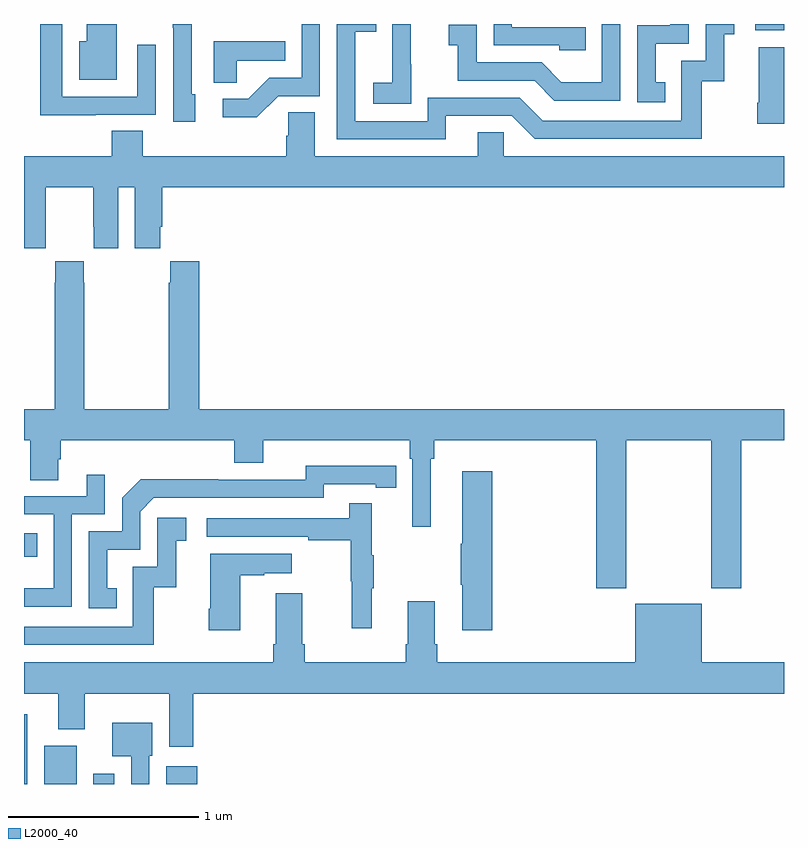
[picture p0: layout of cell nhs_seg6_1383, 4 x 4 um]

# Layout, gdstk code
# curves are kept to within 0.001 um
import gdstk
lib = gdstk.Library(unit=1e-6, precision=1e-09)
def R(c, l, rs):  # rectangles x0, y0, x1, y1
    for r in rs: c.add(gdstk.rectangle(r[:2], r[2:], *l))
def P(c, l, *ps):  # polygons
    for p in ps: c.add(gdstk.Polygon(p, *l))
L2000_40 = (2000, 40)

nhs_seg6_1383 = lib.new_cell('nhs_seg6_1383')
R(nhs_seg6_1383, L2000_40, [(195,973.5,195.018,973.867), (195.107,973.5,195.277,973.702), (195.365,973.5,195.475,973.555), (195.749,973.5,195.911,973.594), (195,974.697,195.071,974.82), (198.849,977.466,199,977.5)])
P(nhs_seg6_1383, L2000_40, [(195.377,977.022),(195.693,977.022),(195.693,977.392),(195.597,977.392),(195.597,977.118),(195.201,977.118),(195.201,977.5),(195.085,977.5),(195.085,977.021),(195.377,977.021)],
  [(195.487,977.5),(195.329,977.5),(195.329,977.41),(195.29,977.41),(195.29,977.207),(195.487,977.207)],
  [(197.221,977.016),(197.568,977.016),(197.688,976.896),(198.568,976.896),(198.568,977.199),(198.686,977.199),(198.686,977.445),(198.739,977.445),(198.739,977.5),(198.588,977.5),(198.588,977.307),(198.459,977.307),(198.459,976.992),(197.73,976.992),(197.61,977.112),(197.124,977.112),(197.124,976.989),(196.743,976.989),(196.743,977.458),(196.853,977.458),(196.853,977.5),(196.647,977.5),(196.647,976.893),(197.221,976.893)],
  [(195.901,977.13),(195.882,977.13),(195.882,977.5),(195.784,977.5),(195.784,977.479),(195.786,977.479),(195.786,976.986),(195.901,976.986)],
  [(198.374,977.193),(198.325,977.193),(198.325,977.397),(198.498,977.397),(198.498,977.5),(198.402,977.5),(198.402,977.493),(198.228,977.493),(198.228,977.088),(198.374,977.088)],
  [(198.138,977.5),(198.042,977.5),(198.042,977.194),(197.828,977.194),(197.724,977.298),(197.382,977.298),(197.382,977.497),(197.235,977.497),(197.235,977.387),(197.284,977.387),(197.284,977.202),(197.687,977.202),(197.792,977.097),(198.138,977.097)],
  [(196.338,977.121),(196.557,977.121),(196.557,977.5),(196.461,977.5),(196.461,977.217),(196.292,977.217),(196.181,977.106),(196.047,977.106),(196.047,977.009),(196.225,977.009)],
  [(197.957,977.484),(197.568,977.484),(197.568,977.5),(197.472,977.5),(197.472,977.388),(197.817,977.388),(197.817,977.361),(197.957,977.361)],
  [(197.037,977.287),(197.036,977.287),(197.036,977.5),(196.938,977.5),(196.938,977.42),(196.937,977.42),(196.937,977.191),(196.839,977.191),(196.839,977.081),(197.037,977.081)],
  [(196.119,977.306),(196.376,977.306),(196.376,977.41),(195.998,977.41),(195.998,977.191),(196.119,977.191)],
  [(199,977.377),(198.866,977.377),(198.866,977.086),(198.859,977.086),(198.859,976.974),(199,976.974)],
  [(195.114,976.432),(195.115,976.432),(195.115,976.64),(195.365,976.64),(195.365,976.432),(195.366,976.432),(195.366,976.32),(195.496,976.32),(195.496,976.64),(195.584,976.64),(195.584,976.32),(195.718,976.32),(195.718,976.432),(195.728,976.432),(195.728,976.64),(199,976.64),(199,976.804),(197.526,976.804),(197.526,976.931),(197.387,976.931),(197.387,976.804),(196.531,976.804),(196.531,977.036),(196.392,977.036),(196.392,976.913),(196.379,976.913),(196.379,976.804),(195.626,976.804),(195.626,976.937),(195.461,976.937),(195.461,976.804),(195,976.804),(195,976.32),(195.114,976.32)],
  [(198.171,975.308),(198.616,975.308),(198.616,974.529),(198.776,974.529),(198.776,975.308),(199,975.308),(199,975.472),(195.923,975.472),(195.923,976.252),(195.769,976.252),(195.769,976.139),(195.763,976.139),(195.763,975.472),(195.318,975.472),(195.318,976.139),(195.315,976.139),(195.315,976.252),(195.165,976.252),(195.165,976.139),(195.163,976.139),(195.163,975.472),(195,975.472),(195,975.308),(195.034,975.308),(195.034,975.1),(195.181,975.1),(195.181,975.21),(195.194,975.21),(195.194,975.308),(196.106,975.308),(196.106,975.191),(196.258,975.191),(196.258,975.308),(197.03,975.308),(197.03,975.212),(197.043,975.212),(197.043,974.853),(197.14,974.853),(197.14,975.212),(197.159,975.212),(197.159,975.308),(198.011,975.308),(198.011,974.529),(198.171,974.529)],
  [(195.488,974.529),(195.439,974.529),(195.439,974.733),(195.612,974.733),(195.612,974.934),(195.684,975.006),(196.578,975.006),(196.578,975.078),(196.85,975.078),(196.85,975.058),(196.958,975.058),(196.958,975.174),(196.482,975.175),(196.482,975.102),(196.022,975.102),(196.022,975.104),(195.614,975.104),(195.516,975.006),(195.516,974.829),(195.342,974.829),(195.342,974.424),(195.488,974.424)],
  [(197.465,975.145),(197.306,975.145),(197.306,974.765),(197.299,974.765),(197.299,974.548),(197.306,974.548),(197.306,974.31),(197.465,974.31)],
  [(195.252,974.919),(195.426,974.919),(195.426,975.127),(195.329,975.127),(195.329,975.015),(195,975.015),(195,974.919),(195.156,974.919),(195.156,974.53),(195,974.53),(195,974.433),(195.252,974.433)],
  [(196.829,974.531),(196.84,974.531),(196.84,974.705),(196.829,974.705),(196.829,974.977),(196.711,974.977),(196.711,974.898),(195.963,974.898),(195.963,974.802),(196.495,974.802),(196.495,974.782),(196.719,974.782),(196.719,974.568),(196.726,974.568),(196.726,974.319),(196.829,974.319)],
  [(195.682,974.535),(195.8,974.535),(195.8,974.781),(195.853,974.781),(195.853,974.902),(195.702,974.902),(195.702,974.643),(195.573,974.643),(195.573,974.328),(195,974.328),(195,974.232),(195.682,974.232)],
  [(196.138,974.599),(196.265,974.599),(196.265,974.609),(196.408,974.609),(196.408,974.713),(195.98,974.713),(195.98,974.422),(195.973,974.422),(195.973,974.31),(196.138,974.31)],
  [(195.89,973.976),(199,973.976),(199,974.14),(198.568,974.14),(198.568,974.449),(198.218,974.449),(198.218,974.14),(197.174,974.14),(197.174,974.236),(197.161,974.236),(197.161,974.461),(197.021,974.461),(197.021,974.236),(197.009,974.236),(197.009,974.14),(196.478,974.14),(196.478,974.236),(196.465,974.236),(196.465,974.503),(196.325,974.503),(196.325,974.236),(196.313,974.236),(196.313,974.14),(195,974.14),(195,973.976),(195.179,973.976),(195.179,973.787),(195.319,973.787),(195.319,973.976),(195.764,973.976),(195.764,973.695),(195.89,973.695)],
  [(195.66,973.65),(195.676,973.65),(195.676,973.822),(195.464,973.822),(195.464,973.646),(195.564,973.646),(195.564,973.5),(195.66,973.5)])

lib.write_gds('nhs_seg6_1383.gds')
